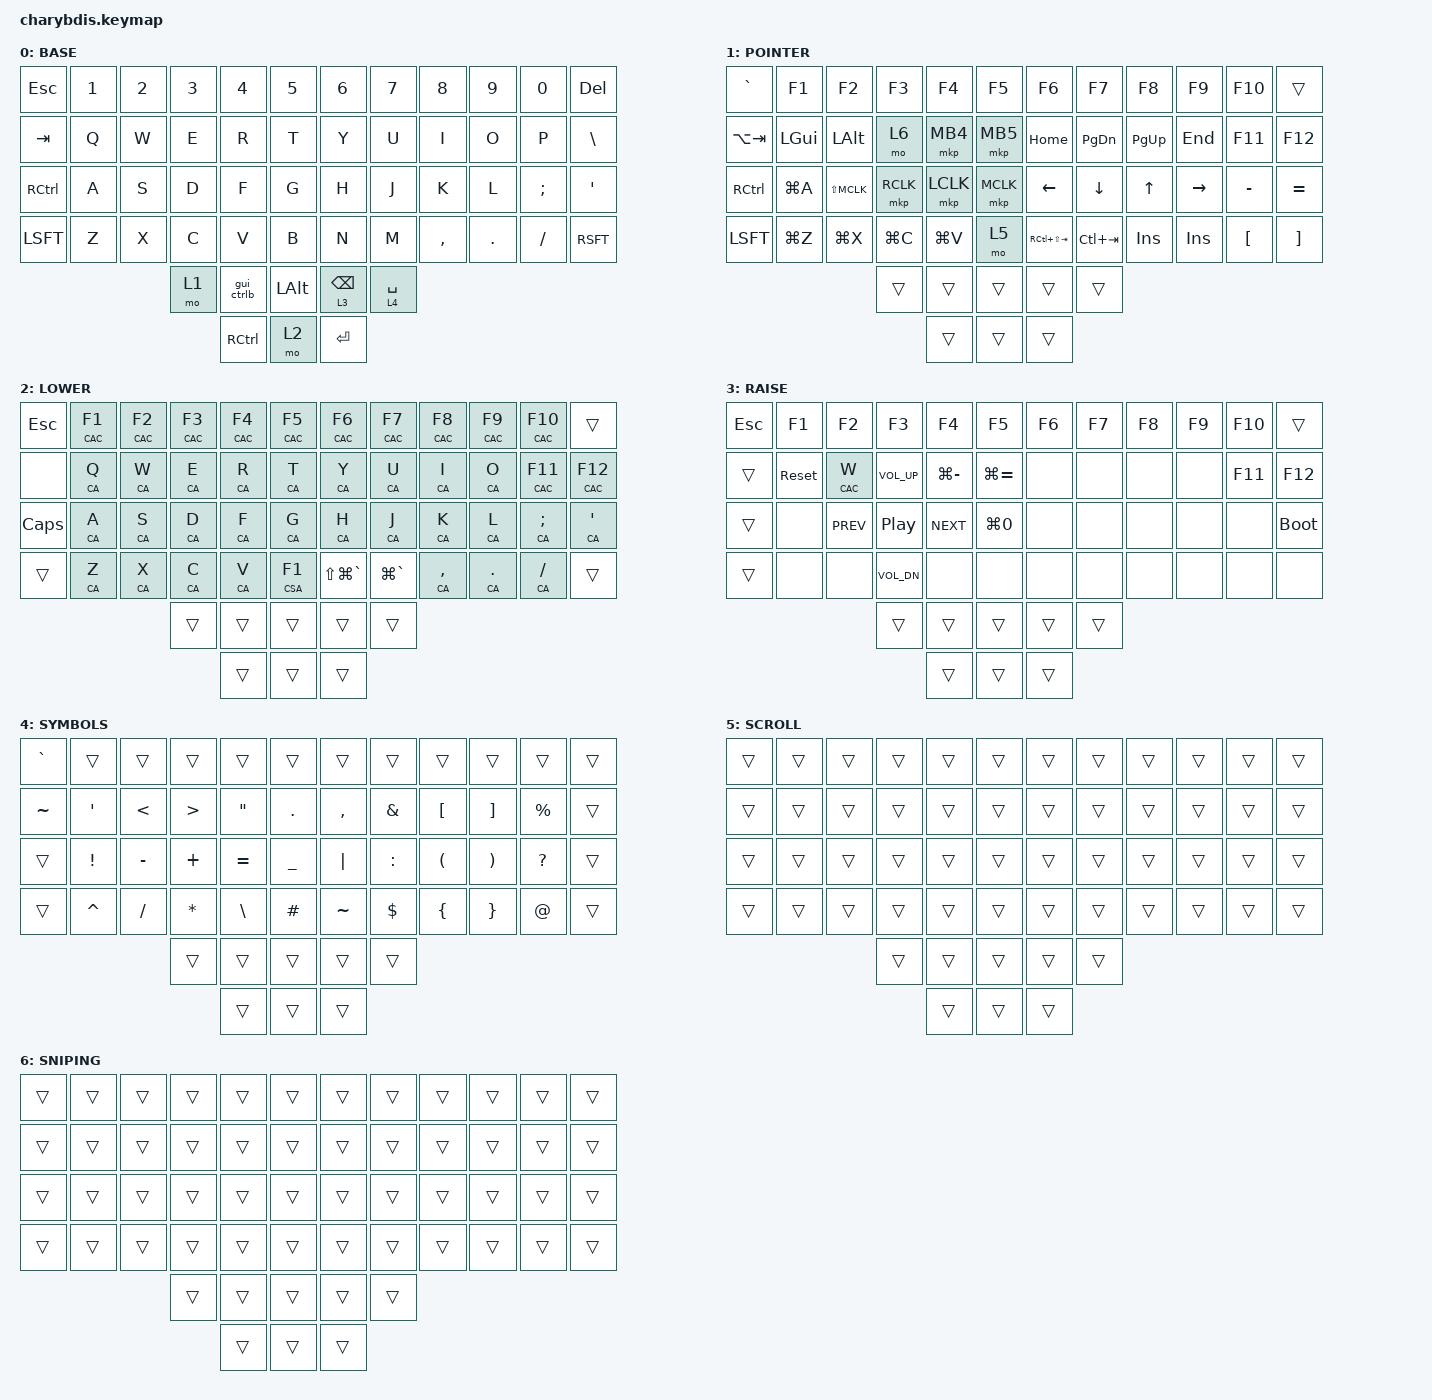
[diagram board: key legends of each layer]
#include <dt-bindings/zmk/mouse.h>
#include <behaviors/mouse_keys.dtsi>
#include <behaviors.dtsi>
#include <dt-bindings/zmk/keys.h>

/ {
    behaviors {
        blt: blt {
            compatible = "zmk,behavior-hold-tap";
            #binding-cells = <2>;
            flavor = "tap-preferred";
            tapping-term-ms = <200>;
            quick-tap-ms = <300>;
            require-prior-idle-ms = <100>;
            bindings = <&mo>, <&kp>;
        };

        gui_ctrlb: gui_ctrlb {
            compatible = "zmk,behavior-tap-dance";
            #binding-cells = <0>;
            tapping-term-ms = <200>;
            bindings = <&kp LGUI>, <&kp LC(B)>;
        };
    };

    macros {
        // Ctrl+Alt+Cmd macro
        CAC: CAC {
            compatible = "zmk,behavior-macro-one-param";
            #binding-cells = <1>;
            bindings
                = <&macro_press &kp LCTRL &kp LALT &kp LGUI>
                , <&macro_param_1to1>
                , <&macro_tap &kp MACRO_PLACEHOLDER>
                , <&macro_release &kp LCTRL &kp LALT &kp LGUI>
                ;
        };

        // Ctrl+Shift+Alt macro
        CSA: CSA {
            compatible = "zmk,behavior-macro-one-param";
            #binding-cells = <1>;
            bindings
                = <&macro_press &kp LCTRL &kp LSHIFT &kp LALT>
                , <&macro_param_1to1>
                , <&macro_tap &kp MACRO_PLACEHOLDER>
                , <&macro_release &kp LCTRL &kp LSHIFT &kp LALT>
                ;
        };

        // Ctrl+Alt macro
        CA: CA {
            compatible = "zmk,behavior-macro-one-param";
            #binding-cells = <1>;
            bindings
                = <&macro_press &kp LCTRL &kp LALT>
                , <&macro_param_1to1>
                , <&macro_tap &kp MACRO_PLACEHOLDER>
                , <&macro_release &kp LCTRL &kp LALT>
                ;
        };
    };

    combos {
        compatible = "zmk,combos";
        // Studio Unlock Combo keys 51, 52, 55. all three keys on the right half thumb cluster
        combo_studio_unlock {
            timeout-ms = <50>;
            key-positions = <51 52 55>;
            bindings = <&studio_unlock>;
        };
    };

    keymap {
        compatible = "zmk,keymap";

// ╭─────────────┬─────────────┬─────────────┬─────────────┬─────────────┬─────────────╮   ╭─────────────┬─────────────┬─────────────┬─────────────┬─────────────┬─────────────╮
//    0             1             2             3             4             5                 6             7             8             9            10            11
// ├─────────────┼─────────────┼─────────────┼─────────────┼─────────────┼─────────────┤   ├─────────────┼─────────────┼─────────────┼─────────────┼─────────────┼─────────────┤
//   12            13            14            15            16            17                18            19            20            21            22            23
// ├─────────────┼─────────────┼─────────────┼─────────────┼─────────────┼─────────────┤   ├─────────────┼─────────────┼─────────────┼─────────────┼─────────────┼─────────────┤
//   24            25            26            27            28            29                30            31            32            33            34            35
// ├─────────────┼─────────────┼─────────────┼─────────────┼─────────────┼─────────────┤   ├─────────────┼─────────────┼─────────────┼─────────────┼─────────────┼─────────────┤
//   36            37            38            39            40            41                42            43            44            45            46            47
// ╰─────────────┴─────────────┴─────────────┴─────────────┴─────────────┴─────────────╯   ╰─────────────┴─────────────┴─────────────┴─────────────┴─────────────┴─────────────╯
//                                          ╭─────────────┬─────────────┬─────────────╮    ╭─────────────┬─────────────╮
//                                             48            49            50                51            52
//                                          ╰─────────────┼─────────────┼─────────────┤    ├─────────────┼─────────────╯
//                                                          53            54                 55
//                                                        ╰─────────────┴─────────────╯    ╰─────────────╯
    base_layer {
            bindings = <
// ╭─────────────┬─────────────┬─────────────┬─────────────┬─────────────┬─────────────╮   ╭─────────────┬─────────────┬─────────────┬─────────────┬─────────────┬─────────────╮
    &kp ESC       &kp N1        &kp N2        &kp N3        &kp N4        &kp N5            &kp N6        &kp N7        &kp N8        &kp N9        &kp N0        &kp DEL
// ├─────────────┼─────────────┼─────────────┼─────────────┼─────────────┼─────────────┤   ├─────────────┼─────────────┼─────────────┼─────────────┼─────────────┼─────────────┤
    &kp TAB       &kp Q         &kp W         &kp E         &kp R         &kp T             &kp Y         &kp U         &kp I         &kp O         &kp P         &kp BSLH
// ├─────────────┼─────────────┼─────────────┼─────────────┼─────────────┼─────────────┤   ├─────────────┼─────────────┼─────────────┼─────────────┼─────────────┼─────────────┤
    &kp RCTRL     &kp A         &kp S         &kp D         &kp F         &kp G             &kp H         &kp J         &kp K         &kp L         &kp SEMI      &kp SQT
// ├─────────────┼─────────────┼─────────────┼─────────────┼─────────────┼─────────────┤   ├─────────────┼─────────────┼─────────────┼─────────────┼─────────────┼─────────────┤
    &kp LSFT      &kp Z         &kp X         &kp C         &kp V         &kp B             &kp N         &kp M         &kp COMMA     &kp DOT       &kp FSLH      &kp RSFT
// ╰─────────────┴─────────────┴─────────────┴─────────────┴─────────────┴─────────────╯   ╰─────────────┴─────────────┴─────────────┴─────────────┴─────────────┴─────────────╯
//                                          ╭─────────────┬─────────────┬─────────────╮   ╭─────────────┬─────────────╮
                                             &mo 1         &gui_ctrlb    &kp LALT          &blt 3 BSPC   &blt 4 SPACE
//                                          ╰─────────────┼─────────────┼─────────────┤   ├─────────────┼─────────────╯
                                                           &kp RCTRL     &mo 2             &kp RET
//                                                        ╰─────────────┴─────────────╯   ╰─────────────╯
            >;
            label = "BASE";
        };

        pointer_layer {
            bindings = <
// ╭─────────────┬─────────────┬─────────────┬─────────────┬─────────────┬─────────────╮   ╭─────────────┬─────────────┬─────────────┬─────────────┬─────────────┬─────────────╮
    &kp GRAVE     &kp F1        &kp F2        &kp F3        &kp F4        &kp F5            &kp F6        &kp F7        &kp F8        &kp F9        &kp F10       &trans
// ├─────────────┼─────────────┼─────────────┼─────────────┼─────────────┼─────────────┤   ├─────────────┼─────────────┼─────────────┼─────────────┼─────────────┼─────────────┤
    &kp LA(TAB)   &kp LGUI      &kp LALT      &mo 6         &mkp MB4      &mkp MB5          &kp HOME      &kp PG_DN     &kp PG_UP     &kp END       &kp F11       &kp F12
// ├─────────────┼─────────────┼─────────────┼─────────────┼─────────────┼─────────────┤   ├─────────────┼─────────────┼─────────────┼─────────────┼─────────────┼─────────────┤
    &kp RCTRL     &kp LG(A)     &kp LS(MCLK)  &mkp RCLK     &mkp LCLK     &mkp MCLK         &kp LEFT      &kp DOWN      &kp UP        &kp RIGHT     &kp MINUS     &kp EQUAL
// ├─────────────┼─────────────┼─────────────┼─────────────┼─────────────┼─────────────┤   ├─────────────┼─────────────┼─────────────┼─────────────┼─────────────┼─────────────┤
    &kp LSFT      &kp LG(Z)     &kp LG(X)     &kp LG(C)     &kp LG(V)     &mo 5             &kp RC(LS(TAB)) &kp LC(TAB) &kp INS       &kp INS       &kp LBKT      &kp RBKT
// ╰─────────────┴─────────────┴─────────────┴─────────────┴─────────────┴─────────────╯   ╰─────────────┴─────────────┴─────────────┴─────────────┴─────────────┴─────────────╯
//                                          ╭─────────────┬─────────────┬─────────────╮   ╭─────────────┬─────────────╮
                                               &trans        &trans        &trans            &trans        &trans
//                                          ╰─────────────┼─────────────┼─────────────┤   ├─────────────┼─────────────╯
                                                             &trans        &trans            &trans
//                                                        ╰─────────────┴─────────────╯   ╰─────────────╯
            >;
            label = "POINTER";
        };

        lower_layer {
            bindings = <
// ╭─────────────┬─────────────┬─────────────┬─────────────┬─────────────┬─────────────╮   ╭─────────────┬─────────────┬─────────────┬─────────────┬─────────────┬─────────────╮
    &kp ESC       &CAC F1       &CAC F2       &CAC F3       &CAC F4       &CAC F5           &CAC F6       &CAC F7       &CAC F8       &CAC F9       &CAC F10      &trans
// ├─────────────┼─────────────┼─────────────┼─────────────┼─────────────┼─────────────┤   ├─────────────┼─────────────┼─────────────┼─────────────┼─────────────┼─────────────┤
    &none         &CA Q         &CA W         &CA E         &CA R         &CA T             &CA Y         &CA U         &CA I         &CA O         &CAC F11      &CAC F12
// ├─────────────┼─────────────┼─────────────┼─────────────┼─────────────┼─────────────┤   ├─────────────┼─────────────┼─────────────┼─────────────┼─────────────┼─────────────┤
    &kp CAPS      &CA A         &CA S         &CA D         &CA F         &CA G             &CA H         &CA J         &CA K         &CA L         &CA SEMI      &CA SQT
// ├─────────────┼─────────────┼─────────────┼─────────────┼─────────────┼─────────────┤   ├─────────────┼─────────────┼─────────────┼─────────────┼─────────────┼─────────────┤
    &trans        &CA Z         &CA X         &CA C         &CA V         &CSA F1       &kp LS(LG(GRAVE)) &kp LG(GRAVE) &CA COMMA     &CA DOT       &CA FSLH      &trans
// ╰─────────────┴─────────────┴─────────────┴─────────────┴─────────────┴─────────────╯   ╰─────────────┴─────────────┴─────────────┴─────────────┴─────────────┴─────────────╯
//                                          ╭─────────────┬─────────────┬─────────────╮   ╭─────────────┬─────────────╮
                                               &trans        &trans        &trans            &trans        &trans
//                                          ╰─────────────┼─────────────┼─────────────┤   ├─────────────┼─────────────╯
                                                             &trans        &trans            &trans
//                                                        ╰─────────────┴─────────────╯   ╰─────────────╯
            >;
            label = "LOWER";
        };

        raise_layer {
            bindings = <
// ╭─────────────┬─────────────┬─────────────┬─────────────┬─────────────┬─────────────╮   ╭─────────────┬─────────────┬─────────────┬─────────────┬─────────────┬─────────────╮
    &kp ESC       &kp F1        &kp F2        &kp F3        &kp F4        &kp F5            &kp F6        &kp F7        &kp F8        &kp F9        &kp F10       &trans
// ├─────────────┼─────────────┼─────────────┼─────────────┼─────────────┼─────────────┤   ├─────────────┼─────────────┼─────────────┼─────────────┼─────────────┼─────────────┤
    &trans        &sys_reset    &CAC W        &kp C_VOL_UP  &kp LG(MINUS) &kp LG(EQUAL)     &none         &none         &none         &none         &kp F11       &kp F12
// ├─────────────┼─────────────┼─────────────┼─────────────┼─────────────┼─────────────┤   ├─────────────┼─────────────┼─────────────┼─────────────┼─────────────┼─────────────┤
    &trans        &none         &kp C_PREV    &kp C_PP      &kp C_NEXT    &kp LG(N0)        &none         &none         &none         &none         &none         &bootloader
// ├─────────────┼─────────────┼─────────────┼─────────────┼─────────────┼─────────────┤   ├─────────────┼─────────────┼─────────────┼─────────────┼─────────────┼─────────────┤
    &trans        &none         &none         &kp C_VOL_DN  &none         &none             &none         &none         &none         &none         &none         &none
// ╰─────────────┴─────────────┴─────────────┴─────────────┴─────────────┴─────────────╯   ╰─────────────┴─────────────┴─────────────┴─────────────┴─────────────┴─────────────╯
//                                          ╭─────────────┬─────────────┬─────────────╮   ╭─────────────┬─────────────╮
                                               &trans        &trans        &trans            &trans        &trans
//                                          ╰─────────────┼─────────────┼─────────────┤   ├─────────────┼─────────────╯
                                                             &trans        &trans            &trans
//                                                        ╰─────────────┴─────────────╯   ╰─────────────╯
            >;
            label = "RAISE";
        };

        symbols_layer {
            bindings = <
// ╭─────────────┬─────────────┬─────────────┬─────────────┬─────────────┬─────────────╮   ╭─────────────┬─────────────┬─────────────┬─────────────┬─────────────┬─────────────╮
    &kp GRAVE     &trans        &trans        &trans        &trans        &trans            &trans        &trans        &trans        &trans        &trans        &trans
// ├─────────────┼─────────────┼─────────────┼─────────────┼─────────────┼─────────────┤   ├─────────────┼─────────────┼─────────────┼─────────────┼─────────────┼─────────────┤
    &kp TILDE     &kp SQT       &kp LT        &kp GT        &kp DQT       &kp DOT           &kp COMMA     &kp AMPS      &kp LBKT      &kp RBKT      &kp PRCNT     &trans
// ├─────────────┼─────────────┼─────────────┼─────────────┼─────────────┼─────────────┤   ├─────────────┼─────────────┼─────────────┼─────────────┼─────────────┼─────────────┤
    &trans        &kp EXCL      &kp MINUS     &kp PLUS      &kp EQUAL     &kp UNDER         &kp PIPE      &kp COLON     &kp LPAR      &kp RPAR      &kp QMARK     &trans
// ├─────────────┼─────────────┼─────────────┼─────────────┼─────────────┼─────────────┤   ├─────────────┼─────────────┼─────────────┼─────────────┼─────────────┼─────────────┤
    &trans        &kp CARET     &kp FSLH      &kp ASTRK     &kp BSLH      &kp HASH          &kp TILDE     &kp DLLR      &kp LBRC      &kp RBRC      &kp AT        &trans
// ╰─────────────┴─────────────┴─────────────┴─────────────┴─────────────┴─────────────╯   ╰─────────────┴─────────────┴─────────────┴─────────────┴─────────────┴─────────────╯
//                                          ╭─────────────┬─────────────┬─────────────╮   ╭─────────────┬─────────────╮
                                               &trans        &trans        &trans            &trans        &trans
//                                          ╰─────────────┼─────────────┼─────────────┤   ├─────────────┼─────────────╯
                                                             &trans        &trans            &trans
//                                                        ╰─────────────┴─────────────╯   ╰─────────────╯
            >;
            label = "SYMBOLS";
        };

        scroll_layer {
            bindings = <
// ╭─────────────┬─────────────┬─────────────┬─────────────┬─────────────┬─────────────╮   ╭─────────────┬─────────────┬─────────────┬─────────────┬─────────────┬─────────────╮
    &trans        &trans        &trans        &trans        &trans        &trans            &trans        &trans        &trans        &trans        &trans        &trans
// ├─────────────┼─────────────┼─────────────┼─────────────┼─────────────┼─────────────┤   ├─────────────┼─────────────┼─────────────┼─────────────┼─────────────┼─────────────┤
    &trans        &trans        &trans        &trans        &trans        &trans            &trans        &trans        &trans        &trans        &trans        &trans
// ├─────────────┼─────────────┼─────────────┼─────────────┼─────────────┼─────────────┤   ├─────────────┼─────────────┼─────────────┼─────────────┼─────────────┼─────────────┤
    &trans        &trans        &trans        &trans        &trans        &trans            &trans        &trans        &trans        &trans        &trans        &trans
// ├─────────────┼─────────────┼─────────────┼─────────────┼─────────────┼─────────────┤   ├─────────────┼─────────────┼─────────────┼─────────────┼─────────────┼─────────────┤
    &trans        &trans        &trans        &trans        &trans        &trans            &trans        &trans        &trans        &trans        &trans        &trans
// ╰─────────────┴─────────────┴─────────────┴─────────────┴─────────────┴─────────────╯   ╰─────────────┴─────────────┴─────────────┴─────────────┴─────────────┴─────────────╯
//                                          ╭─────────────┬─────────────┬─────────────╮   ╭─────────────┬─────────────╮
                                               &trans        &trans        &trans            &trans        &trans
//                                          ╰─────────────┼─────────────┼─────────────┤   ├─────────────┼─────────────╯
                                                             &trans        &trans            &trans
//                                                        ╰─────────────┴─────────────╯   ╰─────────────╯
            >;
            label = "SCROLL";
        };

        sniping_layer {
            bindings = <
// ╭─────────────┬─────────────┬─────────────┬─────────────┬─────────────┬─────────────╮   ╭─────────────┬─────────────┬─────────────┬─────────────┬─────────────┬─────────────╮
    &trans        &trans        &trans        &trans        &trans        &trans            &trans        &trans        &trans        &trans        &trans        &trans
// ├─────────────┼─────────────┼─────────────┼─────────────┼─────────────┼─────────────┤   ├─────────────┼─────────────┼─────────────┼─────────────┼─────────────┼─────────────┤
    &trans        &trans        &trans        &trans        &trans        &trans            &trans        &trans        &trans        &trans        &trans        &trans
// ├─────────────┼─────────────┼─────────────┼─────────────┼─────────────┼─────────────┤   ├─────────────┼─────────────┼─────────────┼─────────────┼─────────────┼─────────────┤
    &trans        &trans        &trans        &trans        &trans        &trans            &trans        &trans        &trans        &trans        &trans        &trans
// ├─────────────┼─────────────┼─────────────┼─────────────┼─────────────┼─────────────┤   ├─────────────┼─────────────┼─────────────┼─────────────┼─────────────┼─────────────┤
    &trans        &trans        &trans        &trans        &trans        &trans            &trans        &trans        &trans        &trans        &trans        &trans
// ╰─────────────┴─────────────┴─────────────┴─────────────┴─────────────┴─────────────╯   ╰─────────────┴─────────────┴─────────────┴─────────────┴─────────────┴─────────────╯
//                                          ╭─────────────┬─────────────┬─────────────╮   ╭─────────────┬─────────────╮
                                               &trans        &trans        &trans            &trans        &trans
//                                          ╰─────────────┼─────────────┼─────────────┤   ├─────────────┼─────────────╯
                                                             &trans        &trans            &trans
//                                                        ╰─────────────┴─────────────╯   ╰─────────────╯
            >;
            label = "SNIPING";
        };
    };
};
